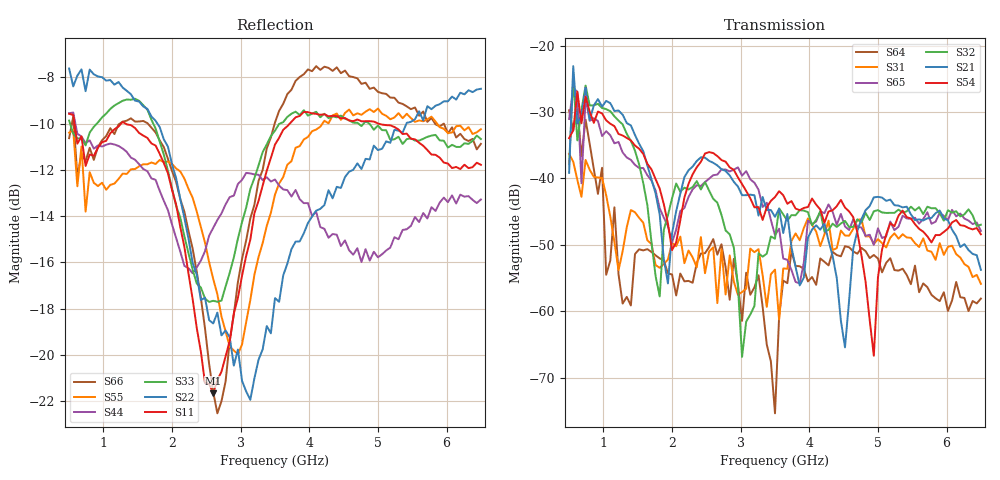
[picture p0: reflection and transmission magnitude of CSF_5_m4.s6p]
!Keysight Technologies,M9804A,MY58100912,A.14.10.03
!Date: Thursday, April 27, 2023 10:28:33
!Correction: S11(C  6-Port  )
!S12(C  6-Port  )
!S13(C  6-Port  )
!S14(C  6-Port  )
!S15(C  6-Port  )
!S16(C  6-Port  )
!S21(C  6-Port  )
!S22(C  6-Port  )
!S23(C  6-Port  )
!S24(C  6-Port  )
!S25(C  6-Port  )
!S26(C  6-Port  )
!S31(C  6-Port  )
!S32(C  6-Port  )
!S33(C  6-Port  )
!S34(C  6-Port  )
!S35(C  6-Port  )
!S36(C  6-Port  )
!S41(C  6-Port  )
!S42(C  6-Port  )
!S43(C  6-Port  )
!S44(C  6-Port  )
!S45(C  6-Port  )
!S46(C  6-Port  )
!S51(C  6-Port  )
!S52(C  6-Port  )
!S53(C  6-Port  )
!S54(C  6-Port  )
!S55(C  6-Port  )
!S56(C  6-Port  )
!S61(C  6-Port  )
!S62(C  6-Port  )
!S63(C  6-Port  )
!S64(C  6-Port  )
!S65(C  6-Port  )
!S66(C  6-Port  )
!S6P File: Measurement: :
# Hz S  RI  R 50
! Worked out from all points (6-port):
!   101 points, 500 MHz to 6.5 GHz, reference 50 ohm
!   strongest paths, dB at 500 MHz, 2 GHz, 3.5 GHz, 5 GHz, 6.5 GHz:
!     S54: -33.9, -50.8, -42.8, -54.9, -48.4
!     S21: -39.2, -48.3, -45.8, -42.8, -53.8
!     S32: -37.9, -43.0, -49.1, -44.8, -47.0
!     S65: -31.1, -49.7, -48.5, -47.5, -47.9
!     S31: -36.3, -49.7, -53.7, -49.2, -55.9
!     S64: -29.8, -54.5, -75.4, -52.1, -58.1
!   lowest |S11| = -21.7 dB at 2.6 GHz (marker M1), VSWR 1.18, Z = 42.6 + j2.07 ohm
!   |S11| at or under -10 dB: 578.2 MHz to 1.256 GHz (678.2 MHz wide, 73.9 % of centre); 1.324 GHz to 3.714 GHz (2.39 GHz wide, 94.9 % of centre); 5.013 GHz to end of sweep
